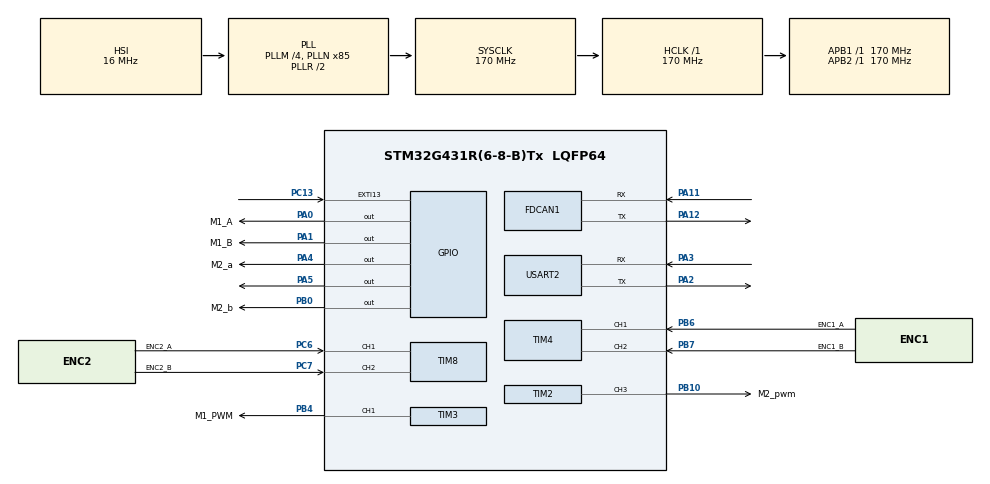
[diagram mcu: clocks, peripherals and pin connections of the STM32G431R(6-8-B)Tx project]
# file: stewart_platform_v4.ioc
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Dma.Request0=USART2_TX
Dma.USART2_TX.0.Direction=DMA_MEMORY_TO_PERIPH
Dma.USART2_TX.0.EventEnable=DISABLE
Dma.USART2_TX.0.Instance=DMA1_Channel1
Dma.USART2_TX.0.MemDataAlignment=DMA_MDATAALIGN_BYTE
Dma.USART2_TX.0.MemInc=DMA_MINC_ENABLE
Dma.USART2_TX.0.Mode=DMA_NORMAL
Dma.USART2_TX.0.PeriphDataAlignment=DMA_PDATAALIGN_BYTE
Dma.USART2_TX.0.PeriphInc=DMA_PINC_DISABLE
Dma.USART2_TX.0.Polarity=HAL_DMAMUX_REQ_GEN_RISING
Dma.USART2_TX.0.Priority=DMA_PRIORITY_LOW
Dma.USART2_TX.0.RequestNumber=1
Dma.USART2_TX.0.SignalID=NONE
Dma.USART2_TX.0.SyncEnable=DISABLE
Dma.USART2_TX.0.SyncPolarity=HAL_DMAMUX_SYNC_NO_EVENT
Dma.USART2_TX.0.SyncRequestNumber=1
Dma.USART2_TX.0.SyncSignalID=NONE
FDCAN1.CalculateBaudRateNominal=3541666
FDCAN1.CalculateTimeBitNominal=282
FDCAN1.CalculateTimeQuantumNominal=94.11764705882354
Mcu.Family=STM32G4
Mcu.Name=STM32G431R(6-8-B)Tx
Mcu.Package=LQFP64
NUCLEO-G431RB.BUTTON=1
NUCLEO-G431RB.LD1=true
NVIC.DMA1_Channel1_IRQn=true\:0\:0\:false\:false\:true\:false\:true\:true
NVIC.EXTI15_10_IRQn=true\:0\:0\:false\:false\:true\:false\:true\:true
NVIC.PriorityGroup=NVIC_PRIORITYGROUP_4
NVIC.USART2_IRQn=true\:0\:0\:false\:false\:true\:true\:true\:true
PA0.GPIO_Label=M1_A
PA0.Signal=GPIO_Output
PA1.GPIO_Label=M1_B
PA1.Signal=GPIO_Output
PA11.Mode=FDCAN_Activate
PA11.Signal=FDCAN1_RX
PA12.Mode=FDCAN_Activate
PA12.Signal=FDCAN1_TX
PA13.GPIO_Label=T_SWDIO
PA13.Mode=Trace_Asynchronous_SW
PA13.Signal=SYS_JTMS-SWDIO
PA14.GPIO_Label=T_SWCLK
PA14.Mode=Trace_Asynchronous_SW
PA14.Signal=SYS_JTCK-SWCLK
PA2.Mode=Asynchronous
PA2.Signal=USART2_TX
PA3.Mode=Asynchronous
PA3.Signal=USART2_RX
PA4.GPIO_Label=M2_a
PA4.Signal=GPIO_Output
PA5.Signal=GPIO_Output
PB0.GPIO_Label=M2_b
PB0.Signal=GPIO_Output
PB10.GPIO_Label=M2_pwm
PB10.Signal=S_TIM2_CH3
PB3.GPIO_Label=T_SWO
PB3.Mode=Trace_Asynchronous_SW
PB3.Signal=SYS_JTDO-SWO
PB4.GPIO_Label=M1_PWM
PB4.Signal=S_TIM3_CH1
PB6.GPIO_Label=ENC1_A
PB6.Signal=S_TIM4_CH1
PB7.GPIO_Label=ENC1_B
PB7.Signal=S_TIM4_CH2
PC13.Signal=GPXTI13
PC14-OSC32_IN.GPIO_Label=RCC_OSC32_OUT
PC14-OSC32_IN.Signal=RCC_OSC32_IN
PC15-OSC32_OUT.GPIO_Label=RCC_OSC32_OUT
PC15-OSC32_OUT.Signal=RCC_OSC32_OUT
PC6.GPIO_Label=ENC2_A
PC6.Signal=S_TIM8_CH1
PC7.GPIO_Label=ENC2_B
PC7.Signal=S_TIM8_CH2
PF0-OSC_IN.GPIO_Label=RCC_OSC_IN
PF0-OSC_IN.Mode=HSE-External-Oscillator
PF0-OSC_IN.Signal=RCC_OSC_IN
PF1-OSC_OUT.GPIO_Label=RCC_OSC_OUT
PF1-OSC_OUT.Mode=HSE-External-Oscillator
PF1-OSC_OUT.Signal=RCC_OSC_OUT
ProjectManager.HeapSize=0x200
ProjectManager.StackSize=0x400
ProjectManager.TargetToolchain=STM32CubeIDE
RCC.ADC12Freq_Value=170000000
RCC.AHBFreq_Value=170000000
RCC.APB1Freq_Value=170000000
RCC.APB1TimFreq_Value=170000000
RCC.APB2Freq_Value=170000000
RCC.APB2TimFreq_Value=170000000
RCC.CortexFreq_Value=170000000
RCC.EXTERNAL_CLOCK_VALUE=12288000
RCC.HCLKFreq_Value=170000000
RCC.HSE_VALUE=24000000
RCC.HSI48_VALUE=48000000
RCC.HSI_VALUE=16000000
RCC.LSE_VALUE=32768
RCC.PLLM=RCC_PLLM_DIV4
RCC.PLLN=85
RCC.RTCClockSelection=RCC_RTCCLKSOURCE_LSE
RCC.SYSCLKFreq_VALUE=170000000
RCC.SYSCLKSource=RCC_SYSCLKSOURCE_PLLCLK
RCC.USBFreq_Value=170000000
RCC.VCOOutputFreq_Value=340000000
SH.S_TIM2_CH3.0=TIM2_CH3,PWM Generation3 CH3
SH.S_TIM3_CH1.0=TIM3_CH1,PWM Generation1 CH1
SH.S_TIM4_CH1.0=TIM4_CH1,Encoder_Interface
SH.S_TIM4_CH2.0=TIM4_CH2,Encoder_Interface
SH.S_TIM8_CH1.0=TIM8_CH1,Encoder_Interface
SH.S_TIM8_CH2.0=TIM8_CH2,Encoder_Interface
TIM1.PeriodNoDither=3399
TIM1.TIM_MasterOutputTrigger=TIM_TRGO_UPDATE
TIM1.TIM_MasterSlaveMode=TIM_MASTERSLAVEMODE_ENABLE
TIM2.Channel-PWM\ Generation3\ CH3=TIM_CHANNEL_3
TIM2.PeriodNoDither=3399
TIM2.PulseNoDither_3=3000
TIM3.Channel-PWM\ Generation1\ CH1=TIM_CHANNEL_1
TIM3.PeriodNoDither=3399
TIM3.PulseNoDither_1=3000
TIM4.EncoderMode=TIM_ENCODERMODE_TI12
TIM4.IC1Filter=6
TIM4.IC1Polarity=TIM_ICPOLARITY_RISING
TIM4.IC2Filter=6
TIM8.EncoderMode=TIM_ENCODERMODE_TI12
TIM8.IC1Filter=6
TIM8.IC1Polarity=TIM_ICPOLARITY_FALLING
TIM8.IC2Filter=6
USART2.VirtualMode-Asynchronous=VM_ASYNC
VP_NUCLEO-G431RB_VS_BSP_COMMON.Mode=COMMON
VP_SYS_VS_DBSignals.Mode=DisableDeadBatterySignals
VP_TIM1_VS_ClockSourceINT.Mode=Internal
VP_TIM2_VS_ClockSourceINT.Mode=Internal
VP_TIM2_VS_ClockSourceITR.Mode=TriggerSource_ITR0
VP_TIM2_VS_ControllerModeReset.Mode=Reset Mode
VP_TIM3_VS_ClockSourceINT.Mode=Internal
VP_TIM3_VS_ClockSourceITR.Mode=TriggerSource_ITR0
VP_TIM3_VS_ControllerModeReset.Mode=Reset Mode
board=NUCLEO-G431RB

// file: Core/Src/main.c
/* USER CODE BEGIN Header */
/**
  ******************************************************************************
  * @file           : main.c
  * @brief          : Main program body
  ******************************************************************************
  * @attention
  *
  * Copyright (c) 2026 STMicroelectronics.
  * All rights reserved.
  *
  * This software is licensed under terms that can be found in the LICENSE file
  * in the root directory of this software component.
  * If no LICENSE file comes with this software, it is provided AS-IS.
  *
  ******************************************************************************
  */
/* USER CODE END Header */
#include "main.h"

/* USER CODE BEGIN Includes */
#include <stdio.h>
/* USER CODE END Includes */

/* USER CODE BEGIN PTD */

// --- Stewart Platform Motor State typedef ---
typedef enum{
	SLEEP_STANDBY,
    FORWARD_STANDBY,
    BACKWARD_STANDBY,
    FORWARD,
    BACKWARD,
    BRAKE,
    HOMING}          // open-loop retract to end stops (used to recover from a fault)
stewart_state;
// --- command direction typedef ---
typedef enum{
	GO,
	REVERSE,
} command_direction;
// ---  Motor structure define ---
typedef struct{
	// bare bones defines
	TIM_HandleTypeDef *timer;        // PWM timer
	uint32_t channel;                // PWM channel
	GPIO_TypeDef *gpioportA;
	uint16_t GPIOPinA;
	GPIO_TypeDef *gpioportB;
	uint16_t GPIOPinB;

	// encoder feedback (replaces hall EXTI counting)
	TIM_HandleTypeDef *enc_timer;    // encoder timer (TIM4 / TIM8)
	uint16_t enc_last;               // last raw counter value
	int32_t position_ticks;          // signed position (+ extending)
	int32_t speed_ticks;             // ticks since last speed update (signed)

	// after encoder feedback
	float position_mm;
	uint16_t speed;
	uint8_t direction;
} motor;

// Result output format for findmin
typedef struct{
	uint32_t idx;
	uint32_t value;
} minResult;

/* USER CODE END PTD */

/* USER CODE BEGIN PD */
#define ACTUATOR_COUNT 2U

// --- Timing ---
#define CTRL_PERIOD_MS   10U    // encoder read + sync loop
#define PRINT_PERIOD_MS  100U   // UART print + speed window

// --- Sync controller (tune these) ---
#define BASE_DUTY  2800         // nominal compare (ARR = 3399), headroom for the lagging motor
#define DUTY_MIN    600         // don't let a motor stall
#define DUTY_MAX   3230         // ~95%: leaves PWM off-time for the driver's high side
#define KP          1.5f         // duty counts per tick of position error
#define KI         0.01f         // duty counts added per tick of error, every 10 ms
#define KD         0.0f         // leave at 0 to start (encoder ticks make D noisy)
#define I_LIMIT  800.0f         // max duty the I term can contribute (anti-windup)

// --- Safety ---
#define ERR_LIMIT   10000       // ticks: if the actuators get this far apart, stop both

// --- Encoder <-> motor mapping (match whatever you found works) ---
// Each motor must read the encoder on ITS OWN actuator.
#define M1_ENC_TIMER  htim8     // encoder on the actuator driven by TIM2 CH3
#define M2_ENC_TIMER  htim4     // encoder on the actuator driven by TIM3 CH1

// --- Encoder direction fix ---
// If an actuator counts NEGATIVE while extending, set its entry to 1.
#define ENC1_INVERT  0          // M1
#define ENC2_INVERT  0          // M2 (TIM4 counts backwards)
/* USER CODE END PD */

FDCAN_HandleTypeDef hfdcan1;

TIM_HandleTypeDef htim1;
TIM_HandleTypeDef htim2;
TIM_HandleTypeDef htim3;
TIM_HandleTypeDef htim4;
TIM_HandleTypeDef htim8;

UART_HandleTypeDef huart2;
DMA_HandleTypeDef hdma_usart2_tx;

/* USER CODE BEGIN PV */
// states/buttons
static stewart_state motor_state = SLEEP_STANDBY;
static volatile uint8_t button_event = 0U;
//motors
static motor h_bridge[ACTUATOR_COUNT] = {
		{   // M1
	        .timer = &htim3,              // PB4  = M1_PWM
	        .channel = TIM_CHANNEL_1,
	        .gpioportA = M1_A_GPIO_Port,
	        .GPIOPinA = M1_A_Pin,
	        .gpioportB = M1_B_GPIO_Port,
	        .GPIOPinB = M1_B_Pin,
	        .enc_timer = &M1_ENC_TIMER
	    },
	    {   // M2
	        .timer = &htim2,              // PB10 = M2_pwm
	        .channel = TIM_CHANNEL_3,
	        .gpioportA = M2_a_GPIO_Port,
	        .GPIOPinA = M2_a_Pin,
	        .gpioportB = M2_b_GPIO_Port,
	        .GPIOPinB = M2_b_Pin,
	        .enc_timer = &M2_ENC_TIMER
	    }
};

// Speeds array
volatile uint32_t speeds[ACTUATOR_COUNT];

//print uart data variables
static uint32_t last_uart_print_ms = 0;

// latest sync error + duties (for printing / tuning)
static int32_t sync_error = 0;
static int32_t duty_cmd[ACTUATOR_COUNT] = {BASE_DUTY, BASE_DUTY};

// PID state
static float   i_acc    = 0.0f;     // integral term, in duty counts
static int32_t err_prev = 0;
static uint8_t fault    = 0U;       // 1 = stopped because actuators got too far apart

/* USER CODE END PV */

void SystemClock_Config(void);
static void MX_GPIO_Init(void);
static void MX_DMA_Init(void);
static void MX_FDCAN1_Init(void);
static void MX_TIM1_Init(void);
static void MX_TIM2_Init(void);
static void MX_TIM3_Init(void);
static void MX_TIM4_Init(void);
static void MX_TIM8_Init(void);
static void MX_USART2_UART_Init(void);
/* USER CODE BEGIN PFP */
void move_all_generic(command_direction);
void brake();
void sleep();
minResult simple_findmin(const volatile uint32_t arr[], uint32_t length);
static void update_encoders(void);
static void sync_actuators(void);
static int32_t clamp_i32(int32_t x, int32_t lo, int32_t hi);
/* USER CODE END PFP */

/* USER CODE BEGIN 0 */
void move_all_generic(command_direction direction){
	// fresh PID state each move (err sign flips between extend and retract)
	i_acc = 0.0f;
	err_prev = 0;

	for (uint8_t i = 0; i < ACTUATOR_COUNT; i++){
		motor *m = &h_bridge[i];

		// every move starts both motors at the same duty; sync adjusts from there
		__HAL_TIM_SET_COMPARE(m->timer, m->channel, BASE_DUTY);

		if(direction == GO){
			    m->gpioportA->BSRR = (uint32_t)m->GPIOPinA;          // Set A
			    m->gpioportB->BSRR = (uint32_t)m->GPIOPinB << 16U;  // Reset B
			}
		if(direction == REVERSE){
				m->gpioportA->BSRR = (uint32_t)m->GPIOPinA << 16U;  // Reset A
			    m->gpioportB->BSRR = (uint32_t)m->GPIOPinB;          // Set B
			}
			HAL_TIM_PWM_Start(m->timer, m->channel);
	}
	HAL_TIM_Base_Start(&htim1);
}

void sleep(){
	for (uint8_t i = 0; i < ACTUATOR_COUNT; i++){
		motor *m = &h_bridge[i];
		HAL_TIM_PWM_Stop(m->timer,m->channel);
	}
	HAL_TIM_Base_Stop(&htim1);
}

void brake(){
	for (uint8_t i = 0; i < ACTUATOR_COUNT; i++){
		motor *m = &h_bridge[i];
			    m->gpioportA->BSRR = (uint32_t)m->GPIOPinA; // Set A
			    m->gpioportB->BSRR = (uint32_t)m->GPIOPinB; // Set B
	}
}

minResult simple_findmin(const volatile uint32_t arr[], uint32_t length){
	minResult min = {
			.idx = 0,
			.value = arr[0]
	};

	for(uint32_t i=1; i<length;i++){
		if(arr[i]<min.value){
			min.idx = i;
			min.value = arr[i];
		}
	}
	return min;
}

static void update_encoders(void){
    for (uint8_t i = 0; i < ACTUATOR_COUNT; i++){
        motor *m = &h_bridge[i];
        uint16_t now = __HAL_TIM_GET_COUNTER(m->enc_timer);
        int16_t delta = (int16_t)(now - m->enc_last);  // handles 16-bit wraparound
        m->enc_last = now;

        if ((i == 0 && ENC1_INVERT) || (i == 1 && ENC2_INVERT)){
            delta = (int16_t)(-delta);
        }

        m->position_ticks += delta;
        m->speed_ticks    += delta;
    }
}

static int32_t clamp_i32(int32_t x, int32_t lo, int32_t hi){
	if (x < lo) return lo;
	if (x > hi) return hi;
	return x;
}

// Position sync: slow the actuator that's ahead, speed up the one behind
// Position sync: slow the actuator that's ahead, speed up the one behind (PID + anti-windup)
static void sync_actuators(void){
	if (motor_state != FORWARD && motor_state != BACKWARD) return;

	int32_t raw = h_bridge[0].position_ticks - h_bridge[1].position_ticks;  // >0 = M1 ahead extending

	// Safety: actuators too far apart -> stop both
	if (raw > ERR_LIMIT || raw < -ERR_LIMIT){
		sleep();
		motor_state = SLEEP_STANDBY;
		fault = 1U;
		return;
	}

	int32_t err = (motor_state == BACKWARD) ? -raw : raw;   // retracting: "ahead" = smaller position

	// P and D
	float p_term = KP * (float)err;
	float d_term = KD * (float)(err - err_prev);
	err_prev = err;

	// Tentative integral (hard cap kept as a backstop)
	float i_new = i_acc + KI * (float)err;
	if (i_new >  I_LIMIT) i_new =  I_LIMIT;
	if (i_new < -I_LIMIT) i_new = -I_LIMIT;

	// Would this output saturate either motor?
	int32_t u_try  = (int32_t)(p_term + i_new + d_term);
	int32_t d0_try = BASE_DUTY - u_try;
	int32_t d1_try = BASE_DUTY + u_try;
	uint8_t sat_pos = (d0_try < DUTY_MIN) || (d1_try > DUTY_MAX);   // pushing "slow M1 / speed M2" too hard
	uint8_t sat_neg = (d0_try > DUTY_MAX) || (d1_try < DUTY_MIN);   // pushing "speed M1 / slow M2" too hard

	// Anti-windup (conditional integration): only accept the new integral
	// if it doesn't drive the output further into saturation
	if (!((sat_pos && err > 0) || (sat_neg && err < 0))){
		i_acc = i_new;
	}

	int32_t u  = (int32_t)(p_term + i_acc + d_term);
	int32_t d0 = clamp_i32(BASE_DUTY - u, DUTY_MIN, DUTY_MAX);   // slow the leader
	int32_t d1 = clamp_i32(BASE_DUTY + u, DUTY_MIN, DUTY_MAX);   // speed up the lagger

	sync_error  = err;
	duty_cmd[0] = d0;
	duty_cmd[1] = d1;

	__HAL_TIM_SET_COMPARE(h_bridge[0].timer, h_bridge[0].channel, (uint32_t)d0);
	__HAL_TIM_SET_COMPARE(h_bridge[1].timer, h_bridge[1].channel, (uint32_t)d1);
}

/* USER CODE END 0 */

int main(void)
{

  /* MCU Configuration--------------------------------------------------------*/

  /* Reset of all peripherals, Initializes the Flash interface and the Systick. */
  HAL_Init();

  /* Configure the system clock */
  SystemClock_Config();

  /* Initialize all configured peripherals */
  MX_GPIO_Init();
  MX_DMA_Init();
  MX_FDCAN1_Init();
  MX_TIM1_Init();
  MX_TIM2_Init();
  MX_TIM3_Init();
  MX_TIM4_Init();
  MX_TIM8_Init();
  MX_USART2_UART_Init();
  /* USER CODE BEGIN 2 */
  HAL_TIM_Encoder_Start(&htim4, TIM_CHANNEL_ALL);
  HAL_TIM_Encoder_Start(&htim8, TIM_CHANNEL_ALL);
  for (uint8_t i = 0; i < ACTUATOR_COUNT; i++)
      h_bridge[i].enc_last = __HAL_TIM_GET_COUNTER(h_bridge[i].enc_timer);
  /* USER CODE END 2 */

  /* Initialize leds */
  BSP_LED_Init(LED_GREEN);

  /* Initialize USER push-button, will be used to trigger an interrupt each time it's pressed.*/
  BSP_PB_Init(BUTTON_USER, BUTTON_MODE_EXTI);

  /* Infinite loop */
  /* USER CODE BEGIN WHILE */
  minResult current_minSpeed = {0};
  uint32_t last_enc_ms = 0;

  // Banner + 4 placeholder lines. Last line has no \r\n so the cursor sits on it.
  printf("\r\nSTM started/reset\r\n"
         "M1 speed=0  M2 speed=0\r\n"
         "Min speed=0  Motor index=0\r\n"
         "M1 pos=0  M2 pos=0\r\n"
         "err=0  I=0  M1 duty=0  M2 duty=0");
  fflush(stdout);

  while (1)
  {
	  uint32_t now = HAL_GetTick();

	  //------------------- Read encoders + sync every 10 ms ----------------------
	  if ((uint32_t)(now - last_enc_ms) >= CTRL_PERIOD_MS)
	  {
		  last_enc_ms = now;
		  update_encoders();
		  sync_actuators();
	  }

	  //------------------- Print every 100 ms (updates the same 4 lines) ----------------------
	  if ((uint32_t)(now - last_uart_print_ms) >= PRINT_PERIOD_MS)
	  {
		  last_uart_print_ms = now;

		  // grab speed (ticks per 100 ms, signed) and reset for the next window
		  int32_t s0 = h_bridge[0].speed_ticks;
		  int32_t s1 = h_bridge[1].speed_ticks;
		  h_bridge[0].speed_ticks = 0;
		  h_bridge[1].speed_ticks = 0;

		  // findmin compares magnitudes, so it works extending or retracting
		  speeds[0] = (uint32_t)((s0 < 0) ? -s0 : s0);
		  speeds[1] = (uint32_t)((s1 < 0) ? -s1 : s1);
		  current_minSpeed = simple_findmin(speeds, ACTUATOR_COUNT);

		  // cursor is on the last line -> go up 3, rewrite all 4 lines
		  printf("\033[3A"
		         "\r\033[2K"
		         "M1 speed=%6ld  M2 speed=%6ld\r\n"
		         "\r\033[2K"
		         "Min speed=%6lu  Motor index=%lu\r\n"
		         "\r\033[2K"
		         "M1 pos=%8ld  M2 pos=%8ld\r\n"
		         "\r\033[2K"
		         "err=%6ld  I=%5ld  M1 duty=%4ld  M2 duty=%4ld  %s",
		         (long)s0,
		         (long)s1,
		         (unsigned long)current_minSpeed.value,
		         (unsigned long)current_minSpeed.idx,
		         (long)h_bridge[0].position_ticks,
		         (long)h_bridge[1].position_ticks,
		         (long)sync_error,
		         (long)i_acc,
		         (long)duty_cmd[0],
		         (long)duty_cmd[1],
		         (motor_state == HOMING) ? "HOMING (press when both retracted)" :
		         fault ? "FAULT: press to home" : "");
		  fflush(stdout);
	  }

	  //------------------- Button: step through motor states ----------------------
	  if (button_event)
	  {
	      button_event = 0U;

	      if (fault && motor_state == SLEEP_STANDBY)
	      {
	          // after a fault: retract both open-loop until they sit on their end stops
	          motor_state = HOMING;
	          move_all_generic(REVERSE);
	      }
	      else if (motor_state == HOMING)
	      {
	          // both fully retracted: stop and call this position zero
	          sleep();
	          h_bridge[0].position_ticks = 0;
	          h_bridge[1].position_ticks = 0;
	          fault = 0U;
	          motor_state = SLEEP_STANDBY;
	      }
	      else switch (motor_state)
	      {
	          case SLEEP_STANDBY:
	              motor_state = FORWARD;
	              move_all_generic(GO);
	              break;

	          case FORWARD:
	              motor_state = BRAKE;
	              brake();
	              break;

	          case BRAKE:
	              motor_state = BACKWARD;
	              move_all_generic(REVERSE);
	              break;

	          case BACKWARD:
	          default:
	              motor_state = SLEEP_STANDBY;
	              sleep();
	              break;
	      }
	  }

    /* USER CODE END WHILE */

  }
}

void SystemClock_Config(void)
{
  RCC_OscInitTypeDef RCC_OscInitStruct = {0};
  RCC_ClkInitTypeDef RCC_ClkInitStruct = {0};

  /** Configure the main internal regulator output voltage
  */
  HAL_PWREx_ControlVoltageScaling(PWR_REGULATOR_VOLTAGE_SCALE1_BOOST);

  /** Initializes the RCC Oscillators according to the specified parameters
  * in the RCC_OscInitTypeDef structure.
  */
  RCC_OscInitStruct.OscillatorType = RCC_OSCILLATORTYPE_HSI;
  RCC_OscInitStruct.HSIState = RCC_HSI_ON;
  RCC_OscInitStruct.HSICalibrationValue = RCC_HSICALIBRATION_DEFAULT;
  RCC_OscInitStruct.PLL.PLLState = RCC_PLL_ON;
  RCC_OscInitStruct.PLL.PLLSource = RCC_PLLSOURCE_HSI;
  RCC_OscInitStruct.PLL.PLLM = RCC_PLLM_DIV4;
  RCC_OscInitStruct.PLL.PLLN = 85;
  RCC_OscInitStruct.PLL.PLLP = RCC_PLLP_DIV2;
  RCC_OscInitStruct.PLL.PLLQ = RCC_PLLQ_DIV2;
  RCC_OscInitStruct.PLL.PLLR = RCC_PLLR_DIV2;
  if (HAL_RCC_OscConfig(&RCC_OscInitStruct) != HAL_OK)
  {
    Error_Handler();
  }

  /** Initializes the CPU, AHB and APB buses clocks
  */
  RCC_ClkInitStruct.ClockType = RCC_CLOCKTYPE_HCLK|RCC_CLOCKTYPE_SYSCLK
                              |RCC_CLOCKTYPE_PCLK1|RCC_CLOCKTYPE_PCLK2;
  RCC_ClkInitStruct.SYSCLKSource = RCC_SYSCLKSOURCE_PLLCLK;
  RCC_ClkInitStruct.AHBCLKDivider = RCC_SYSCLK_DIV1;
  RCC_ClkInitStruct.APB1CLKDivider = RCC_HCLK_DIV1;
  RCC_ClkInitStruct.APB2CLKDivider = RCC_HCLK_DIV1;

  if (HAL_RCC_ClockConfig(&RCC_ClkInitStruct, FLASH_LATENCY_4) != HAL_OK)
  {
    Error_Handler();
  }
}

static void MX_FDCAN1_Init(void)
{

  hfdcan1.Instance = FDCAN1;
  hfdcan1.Init.ClockDivider = FDCAN_CLOCK_DIV1;
  hfdcan1.Init.FrameFormat = FDCAN_FRAME_CLASSIC;
  hfdcan1.Init.Mode = FDCAN_MODE_NORMAL;
  hfdcan1.Init.AutoRetransmission = DISABLE;
  hfdcan1.Init.TransmitPause = DISABLE;
  hfdcan1.Init.ProtocolException = DISABLE;
  hfdcan1.Init.NominalPrescaler = 16;
  hfdcan1.Init.NominalSyncJumpWidth = 1;
  hfdcan1.Init.NominalTimeSeg1 = 1;
  hfdcan1.Init.NominalTimeSeg2 = 1;
  hfdcan1.Init.DataPrescaler = 1;
  hfdcan1.Init.DataSyncJumpWidth = 1;
  hfdcan1.Init.DataTimeSeg1 = 1;
  hfdcan1.Init.DataTimeSeg2 = 1;
  hfdcan1.Init.StdFiltersNbr = 0;
  hfdcan1.Init.ExtFiltersNbr = 0;
  hfdcan1.Init.TxFifoQueueMode = FDCAN_TX_FIFO_OPERATION;
  if (HAL_FDCAN_Init(&hfdcan1) != HAL_OK)
  {
    Error_Handler();
  }

}

static void MX_TIM1_Init(void)
{

  TIM_ClockConfigTypeDef sClockSourceConfig = {0};
  TIM_MasterConfigTypeDef sMasterConfig = {0};

  htim1.Instance = TIM1;
  htim1.Init.Prescaler = 0;
  htim1.Init.CounterMode = TIM_COUNTERMODE_UP;
  htim1.Init.Period = 3399;
  htim1.Init.ClockDivision = TIM_CLOCKDIVISION_DIV1;
  htim1.Init.RepetitionCounter = 0;
  htim1.Init.AutoReloadPreload = TIM_AUTORELOAD_PRELOAD_DISABLE;
  if (HAL_TIM_Base_Init(&htim1) != HAL_OK)
  {
    Error_Handler();
  }
  sClockSourceConfig.ClockSource = TIM_CLOCKSOURCE_INTERNAL;
  if (HAL_TIM_ConfigClockSource(&htim1, &sClockSourceConfig) != HAL_OK)
  {
    Error_Handler();
  }
  sMasterConfig.MasterOutputTrigger = TIM_TRGO_UPDATE;
  sMasterConfig.MasterOutputTrigger2 = TIM_TRGO2_RESET;
  sMasterConfig.MasterSlaveMode = TIM_MASTERSLAVEMODE_ENABLE;
  if (HAL_TIMEx_MasterConfigSynchronization(&htim1, &sMasterConfig) != HAL_OK)
  {
    Error_Handler();
  }

}

static void MX_TIM2_Init(void)
{

  TIM_ClockConfigTypeDef sClockSourceConfig = {0};
  TIM_SlaveConfigTypeDef sSlaveConfig = {0};
  TIM_MasterConfigTypeDef sMasterConfig = {0};
  TIM_OC_InitTypeDef sConfigOC = {0};

  htim2.Instance = TIM2;
  htim2.Init.Prescaler = 0;
  htim2.Init.CounterMode = TIM_COUNTERMODE_UP;
  htim2.Init.Period = 3399;
  htim2.Init.ClockDivision = TIM_CLOCKDIVISION_DIV1;
  htim2.Init.AutoReloadPreload = TIM_AUTORELOAD_PRELOAD_DISABLE;
  if (HAL_TIM_Base_Init(&htim2) != HAL_OK)
  {
    Error_Handler();
  }
  sClockSourceConfig.ClockSource = TIM_CLOCKSOURCE_INTERNAL;
  if (HAL_TIM_ConfigClockSource(&htim2, &sClockSourceConfig) != HAL_OK)
  {
    Error_Handler();
  }
  if (HAL_TIM_PWM_Init(&htim2) != HAL_OK)
  {
    Error_Handler();
  }
  sSlaveConfig.SlaveMode = TIM_SLAVEMODE_RESET;
  sSlaveConfig.InputTrigger = TIM_TS_ITR0;
  if (HAL_TIM_SlaveConfigSynchro(&htim2, &sSlaveConfig) != HAL_OK)
  {
    Error_Handler();
  }
  sMasterConfig.MasterOutputTrigger = TIM_TRGO_RESET;
  sMasterConfig.MasterSlaveMode = TIM_MASTERSLAVEMODE_DISABLE;
  if (HAL_TIMEx_MasterConfigSynchronization(&htim2, &sMasterConfig) != HAL_OK)
  {
    Error_Handler();
  }
  sConfigOC.OCMode = TIM_OCMODE_PWM1;
  sConfigOC.Pulse = 3000;
  sConfigOC.OCPolarity = TIM_OCPOLARITY_HIGH;
  sConfigOC.OCFastMode = TIM_OCFAST_DISABLE;
  if (HAL_TIM_PWM_ConfigChannel(&htim2, &sConfigOC, TIM_CHANNEL_3) != HAL_OK)
  {
    Error_Handler();
  }
  HAL_TIM_MspPostInit(&htim2);

}

static void MX_TIM3_Init(void)
{

  TIM_ClockConfigTypeDef sClockSourceConfig = {0};
  TIM_SlaveConfigTypeDef sSlaveConfig = {0};
  TIM_MasterConfigTypeDef sMasterConfig = {0};
  TIM_OC_InitTypeDef sConfigOC = {0};

  htim3.Instance = TIM3;
  htim3.Init.Prescaler = 0;
  htim3.Init.CounterMode = TIM_COUNTERMODE_UP;
  htim3.Init.Period = 3399;
  htim3.Init.ClockDivision = TIM_CLOCKDIVISION_DIV1;
  htim3.Init.AutoReloadPreload = TIM_AUTORELOAD_PRELOAD_DISABLE;
  if (HAL_TIM_Base_Init(&htim3) != HAL_OK)
  {
    Error_Handler();
  }
  sClockSourceConfig.ClockSource = TIM_CLOCKSOURCE_INTERNAL;
  if (HAL_TIM_ConfigClockSource(&htim3, &sClockSourceConfig) != HAL_OK)
  {
    Error_Handler();
  }
  if (HAL_TIM_PWM_Init(&htim3) != HAL_OK)
  {
    Error_Handler();
  }
  sSlaveConfig.SlaveMode = TIM_SLAVEMODE_RESET;
  sSlaveConfig.InputTrigger = TIM_TS_ITR0;
  if (HAL_TIM_SlaveConfigSynchro(&htim3, &sSlaveConfig) != HAL_OK)
  {
    Error_Handler();
  }
  sMasterConfig.MasterOutputTrigger = TIM_TRGO_RESET;
  sMasterConfig.MasterSlaveMode = TIM_MASTERSLAVEMODE_DISABLE;
  if (HAL_TIMEx_MasterConfigSynchronization(&htim3, &sMasterConfig) != HAL_OK)
  {
    Error_Handler();
  }
  sConfigOC.OCMode = TIM_OCMODE_PWM1;
  sConfigOC.Pulse = 3000;
  sConfigOC.OCPolarity = TIM_OCPOLARITY_HIGH;
  sConfigOC.OCFastMode = TIM_OCFAST_DISABLE;
  if (HAL_TIM_PWM_ConfigChannel(&htim3, &sConfigOC, TIM_CHANNEL_1) != HAL_OK)
  {
    Error_Handler();
  }
  HAL_TIM_MspPostInit(&htim3);

}

static void MX_TIM4_Init(void)
{

  TIM_Encoder_InitTypeDef sConfig = {0};
  TIM_MasterConfigTypeDef sMasterConfig = {0};

  htim4.Instance = TIM4;
  htim4.Init.Prescaler = 0;
  htim4.Init.CounterMode = TIM_COUNTERMODE_UP;
  htim4.Init.Period = 65535;
  htim4.Init.ClockDivision = TIM_CLOCKDIVISION_DIV1;
  htim4.Init.AutoReloadPreload = TIM_AUTORELOAD_PRELOAD_DISABLE;
  sConfig.EncoderMode = TIM_ENCODERMODE_TI12;
  sConfig.IC1Polarity = TIM_ICPOLARITY_RISING;
  sConfig.IC1Selection = TIM_ICSELECTION_DIRECTTI;
  sConfig.IC1Prescaler = TIM_ICPSC_DIV1;
  sConfig.IC1Filter = 6;
  sConfig.IC2Polarity = TIM_ICPOLARITY_RISING;
  sConfig.IC2Selection = TIM_ICSELECTION_DIRECTTI;
  sConfig.IC2Prescaler = TIM_ICPSC_DIV1;
  sConfig.IC2Filter = 6;
  if (HAL_TIM_Encoder_Init(&htim4, &sConfig) != HAL_OK)
  {
    Error_Handler();
  }
  sMasterConfig.MasterOutputTrigger = TIM_TRGO_RESET;
  sMasterConfig.MasterSlaveMode = TIM_MASTERSLAVEMODE_DISABLE;
  if (HAL_TIMEx_MasterConfigSynchronization(&htim4, &sMasterConfig) != HAL_OK)
  {
    Error_Handler();
  }

}

static void MX_TIM8_Init(void)
{

  TIM_Encoder_InitTypeDef sConfig = {0};
  TIM_MasterConfigTypeDef sMasterConfig = {0};

  htim8.Instance = TIM8;
  htim8.Init.Prescaler = 0;
  htim8.Init.CounterMode = TIM_COUNTERMODE_UP;
  htim8.Init.Period = 65535;
  htim8.Init.ClockDivision = TIM_CLOCKDIVISION_DIV1;
  htim8.Init.RepetitionCounter = 0;
  htim8.Init.AutoReloadPreload = TIM_AUTORELOAD_PRELOAD_DISABLE;
  sConfig.EncoderMode = TIM_ENCODERMODE_TI12;
  sConfig.IC1Polarity = TIM_ICPOLARITY_FALLING;
  sConfig.IC1Selection = TIM_ICSELECTION_DIRECTTI;
  sConfig.IC1Prescaler = TIM_ICPSC_DIV1;
  sConfig.IC1Filter = 6;
  sConfig.IC2Polarity = TIM_ICPOLARITY_RISING;
  sConfig.IC2Selection = TIM_ICSELECTION_DIRECTTI;
  sConfig.IC2Prescaler = TIM_ICPSC_DIV1;
  sConfig.IC2Filter = 6;
  if (HAL_TIM_Encoder_Init(&htim8, &sConfig) != HAL_OK)
  {
    Error_Handler();
  }
  sMasterConfig.MasterOutputTrigger = TIM_TRGO_RESET;
  sMasterConfig.MasterOutputTrigger2 = TIM_TRGO2_RESET;
  sMasterConfig.MasterSlaveMode = TIM_MASTERSLAVEMODE_DISABLE;
  if (HAL_TIMEx_MasterConfigSynchronization(&htim8, &sMasterConfig) != HAL_OK)
  {
    Error_Handler();
  }

}

static void MX_USART2_UART_Init(void)
{

  huart2.Instance = USART2;
  huart2.Init.BaudRate = 115200;
  huart2.Init.WordLength = UART_WORDLENGTH_8B;
  huart2.Init.StopBits = UART_STOPBITS_1;
  huart2.Init.Parity = UART_PARITY_NONE;
  huart2.Init.Mode = UART_MODE_TX_RX;
  huart2.Init.HwFlowCtl = UART_HWCONTROL_NONE;
  huart2.Init.OverSampling = UART_OVERSAMPLING_16;
  huart2.Init.OneBitSampling = UART_ONE_BIT_SAMPLE_DISABLE;
  huart2.Init.ClockPrescaler = UART_PRESCALER_DIV1;
  huart2.AdvancedInit.AdvFeatureInit = UART_ADVFEATURE_NO_INIT;
  if (HAL_UART_Init(&huart2) != HAL_OK)
  {
    Error_Handler();
  }
  if (HAL_UARTEx_SetTxFifoThreshold(&huart2, UART_TXFIFO_THRESHOLD_1_8) != HAL_OK)
  {
    Error_Handler();
  }
  if (HAL_UARTEx_SetRxFifoThreshold(&huart2, UART_RXFIFO_THRESHOLD_1_8) != HAL_OK)
  {
    Error_Handler();
  }
  if (HAL_UARTEx_DisableFifoMode(&huart2) != HAL_OK)
  {
    Error_Handler();
  }

}

static void MX_DMA_Init(void)
{

  /* DMA controller clock enable */
  __HAL_RCC_DMAMUX1_CLK_ENABLE();
  __HAL_RCC_DMA1_CLK_ENABLE();

  /* DMA interrupt init */
  /* DMA1_Channel1_IRQn interrupt configuration */
  HAL_NVIC_SetPriority(DMA1_Channel1_IRQn, 0, 0);
  HAL_NVIC_EnableIRQ(DMA1_Channel1_IRQn);

}

static void MX_GPIO_Init(void)
{
  GPIO_InitTypeDef GPIO_InitStruct = {0};

  /* GPIO Ports Clock Enable */
  __HAL_RCC_GPIOC_CLK_ENABLE();
  __HAL_RCC_GPIOF_CLK_ENABLE();
  __HAL_RCC_GPIOA_CLK_ENABLE();
  __HAL_RCC_GPIOB_CLK_ENABLE();

  /*Configure GPIO pin Output Level */
  HAL_GPIO_WritePin(GPIOA, M1_A_Pin|M1_B_Pin|M2_a_Pin, GPIO_PIN_RESET);

  /*Configure GPIO pin Output Level */
  HAL_GPIO_WritePin(M2_b_GPIO_Port, M2_b_Pin, GPIO_PIN_RESET);

  /*Configure GPIO pins : M1_A_Pin M1_B_Pin M2_a_Pin */
  GPIO_InitStruct.Pin = M1_A_Pin|M1_B_Pin|M2_a_Pin;
  GPIO_InitStruct.Mode = GPIO_MODE_OUTPUT_PP;
  GPIO_InitStruct.Pull = GPIO_NOPULL;
  GPIO_InitStruct.Speed = GPIO_SPEED_FREQ_LOW;
  HAL_GPIO_Init(GPIOA, &GPIO_InitStruct);

  /*Configure GPIO pin : M2_b_Pin */
  GPIO_InitStruct.Pin = M2_b_Pin;
  GPIO_InitStruct.Mode = GPIO_MODE_OUTPUT_PP;
  GPIO_InitStruct.Pull = GPIO_NOPULL;
  GPIO_InitStruct.Speed = GPIO_SPEED_FREQ_LOW;
  HAL_GPIO_Init(M2_b_GPIO_Port, &GPIO_InitStruct);

}

/* USER CODE BEGIN 4 */

int __io_putchar(int ch)
{
    HAL_UART_Transmit(&huart2, (uint8_t *)&ch, 1, HAL_MAX_DELAY);
    return ch;
}

void BSP_PB_Callback(Button_TypeDef Button)
{
    if (Button == BUTTON_USER)
    {
        button_event = 1U;
    }
}
/* USER CODE END 4 */

void Error_Handler(void)
{
  __disable_irq();
  while (1)
  {
  }
}
